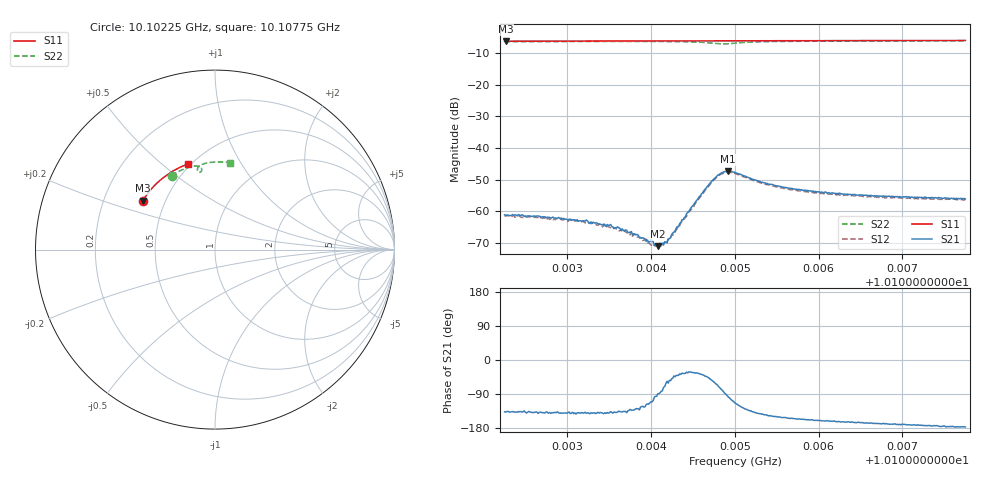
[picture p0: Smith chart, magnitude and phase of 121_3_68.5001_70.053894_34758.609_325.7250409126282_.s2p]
#  HZ  S  RI  R  50.00
! Rohde & Schwarz Vector Network Analyzer
! Rohde-Schwarz,ZNB20-2Port,1311601062101988,3.16
! Created: UTC 3/20/2024, 5:09:07 PM
! freq[Hz]  re:S11  im:S11  re:S21  im:S21  re:S12  im:S12  re:S22  im:S22
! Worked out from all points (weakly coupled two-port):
!   401 points, 10.10225 GHz to 10.10775 GHz, reference 50 ohm
!   highest |S21| = -47.37 dB at 10.10492 GHz (marker M1); lowest = -71.1 dB at 10.10408 GHz (marker M2)
!   lowest |S11| = -6.3 dB at 10.10226 GHz (marker M3), VSWR 2.89, Z = 18.7 + j13.3 ohm
!   |S11| at or under -10 dB: nowhere
!   |S22| runs from -7.1 to -6.2 dB; largest |S21 - S12| = 0.00045
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1.0102251e10  -0.4032 0.2709  -0.000641 -0.0006  -0.00055 -0.000637  -0.2423 0.412
1.0102265e10  -0.4026 0.2717  -0.000636 -0.000584  -0.000535 -0.000641  -0.2416 0.4124
1.0102636e10  -0.3905 0.2907  -0.000615 -0.000573  -0.000553 -0.000571  -0.2208 0.4252
1.0103172e10  -0.3714 0.3172  -0.000524 -0.000461  -0.000493 -0.000475  -0.1892 0.4415
1.0103461e10  -0.3604 0.331  -0.000448 -0.000363  -0.000393 -0.000394  -0.1714 0.4495
1.0103626e10  -0.3539 0.3385  -0.000385 -0.000373  -0.000327 -0.000363  -0.1609 0.4536
1.0103791e10  -0.3472 0.346  -0.000296 -0.000327  -0.000249 -0.000342  -0.1497 0.4575
1.0103956e10  -0.3405 0.3534  -0.000151 -0.000314  -0.000113 -0.000295  -0.1383 0.461
1.0103984e10  -0.3392 0.3545  -0.000129 -0.000301  -9.08e-05 -0.000291  -0.1363 0.4615
1.010408e10  -0.3351 0.3588  5.48e-06 -0.00028  1.22e-05 -0.00029  -0.1292 0.4632
1.0104094e10  -0.3346 0.3593  6.38e-06 -0.000299  2.57e-05 -0.000287  -0.128 0.4634
1.0104149e10  -0.3323 0.3618  9.04e-05 -0.000277  0.000105 -0.000293  -0.1237 0.4642
1.0104204e10  -0.3299 0.3641  0.00017 -0.000307  0.000217 -0.000296  -0.1195 0.4651
1.0104547e10  -0.3146 0.3785  0.00123 -0.000848  0.00127 -0.000693  -0.0878 0.4626
1.010474e10  -0.3061 0.3861  0.00175 -0.0026  0.0019 -0.00233  -0.0736 0.4448
1.0104822e10  -0.3022 0.3893  0.00109 -0.00373  0.00141 -0.0035  -0.0781 0.4343
1.0104919e10  -0.2978 0.3928  -0.000505 -0.00425  -7.95e-05 -0.00412  -0.0911 0.4332
1.0105001e10  -0.294 0.3961  -0.00163 -0.00377  -0.00119 -0.00376  -0.0976 0.442
1.01054e10  -0.275 0.411  -0.00225 -0.00145  -0.00203 -0.00162  -0.0751 0.4732
1.0105922e10  -0.2489 0.4288  -0.00193 -0.000796  -0.00177 -0.000898  -0.0368 0.484
1.0106844e10  -0.2001 0.4559  -0.0017 -0.000308  -0.00156 -0.000504  0.0254 0.4885
1.0107751e10  -0.1496 0.4768  -0.00156 -8.55e-05  -0.0015 -0.000227  0.0842 0.4844
